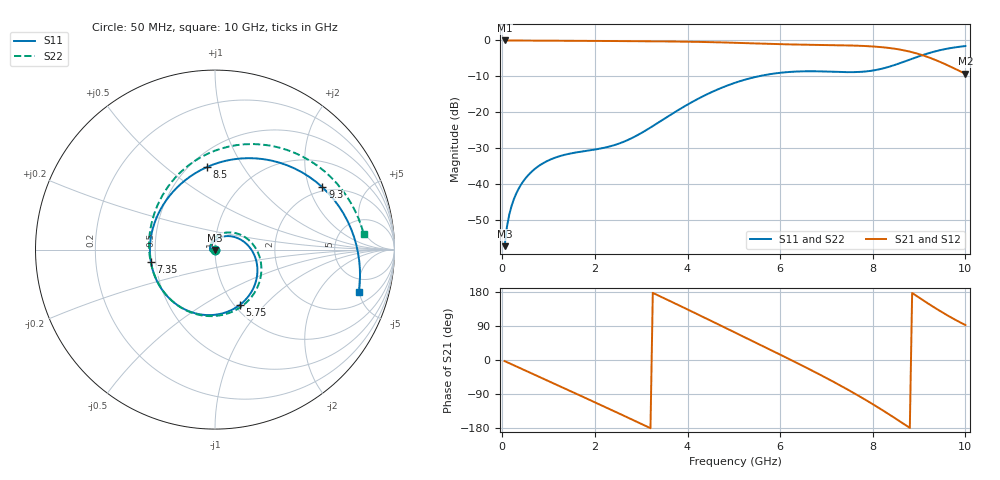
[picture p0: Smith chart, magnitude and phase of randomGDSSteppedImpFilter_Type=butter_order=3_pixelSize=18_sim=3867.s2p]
! freq	dB(S11)	phase(S11)	dB(S12)	phase(S12)
!  dB(S21)	phase(S21)	dB(S22)	phase(S22)
!S-par simulation data
#  GHz  S  DB  R 50
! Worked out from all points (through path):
!   200 points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, 50 MHz to 10 GHz, reference 50 ohm
!   highest |S21| = 0.00 dB at 50 MHz (marker M1); lowest = -9.3 dB at 10 GHz (marker M2)
!   group delay of S21, straight-line fit = 172 ps
!   lowest |S11| = -57.2 dB at 50 MHz (marker M3), VSWR 1.00, Z = 50 - j0.131 ohm
!   |S11| at or under -10 dB: start of sweep to 5.518 GHz
!   |S22| runs from -57.2 to -1.6 dB; largest |S21 - S12| = 0
!   S11 on the Smith chart (normalised r, x): 50 MHz: 1.00, -0.00; 5.75 GHz: 1.06, -0.74; 7.35 GHz: 0.47, -0.08; 8.5 GHz: 0.60, +0.71; 9.3 GHz: 1.85, +2.47; 10 GHz: 3.20, -4.98
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0.05  -57.15 -70.0  -0.00 -2.8  -0.00 -2.8  -57.17 -70.0
0.1  -51.79 -83.8  -0.01 -5.6  -0.01 -5.6  -51.79 -83.8
0.2  -45.98 -95.8  -0.02 -11.2  -0.02 -11.2  -45.98 -95.8
0.5  -38.33 -117.6  -0.04 -27.9  -0.04 -27.9  -38.34 -117.2
1.15  -32.52 -157.9  -0.08 -64.1  -0.08 -64.1  -32.53 -156.3
1.75  -30.80 165.3  -0.11 -97.6  -0.11 -97.6  -30.85 170.8
2.2  -29.82 136.8  -0.15 -123.0  -0.15 -123.0  -29.92 147.3
2.65  -28.00 108.7  -0.18 -148.5  -0.18 -148.5  -28.15 124.4
3.4  -22.57 66.2  -0.26 168.5  -0.26 168.5  -22.67 83.9
3.8  -19.34 44.2  -0.31 145.2  -0.31 145.2  -19.40 60.5
4.3  -15.73 16.7  -0.41 115.7  -0.41 115.7  -15.76 30.9
5.05  -11.65 -25.3  -0.66 71.0  -0.66 71.0  -11.65 -13.8
5.75  -9.43 -65.8  -0.94 29.2  -0.94 29.2  -9.41 -56.0
6.25  -8.71 -95.7  -1.12 -0.9  -1.12 -0.9  -8.69 -86.3
6.7  -8.56 -123.9  -1.22 -28.6  -1.22 -28.6  -8.52 -114.1
7.35  -8.78 -169.0  -1.35 -70.7  -1.35 -70.7  -8.73 -156.3
7.85  -8.61 151.4  -1.56 -105.6  -1.56 -105.6  -8.58 168.6
8.35  -7.32 108.5  -2.09 -143.3  -2.09 -143.3  -7.37 130.8
8.5  -6.70 95.5  -2.35 -155.1  -2.35 -155.1  -6.78 118.8
8.85  -5.09 65.9  -3.27 176.7  -3.27 176.7  -5.20 90.4
9.3  -3.20 30.1  -5.15 140.9  -5.15 140.9  -3.30 54.4
10  -1.56 -16.3  -9.27 92.3  -9.27 92.3  -1.59 6.1
